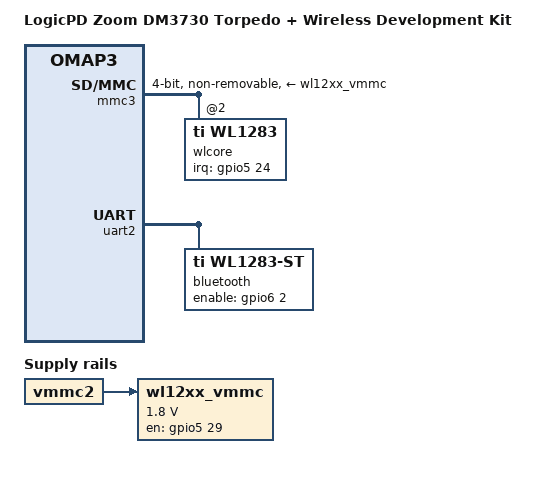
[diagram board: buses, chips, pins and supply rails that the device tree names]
// SPDX-License-Identifier: GPL-2.0-only

/dts-v1/;

#include "omap36xx.dtsi"
#include "logicpd-torpedo-som.dtsi"
#include "omap-gpmc-smsc9221.dtsi"
#include "logicpd-torpedo-baseboard.dtsi"

/ {
	model = "LogicPD Zoom DM3730 Torpedo + Wireless Development Kit";
	compatible = "logicpd,dm3730-torpedo-devkit", "ti,omap3630", "ti,omap3";

	wl12xx_vmmc: wl12xx_vmmc {
		compatible = "regulator-fixed";
		regulator-name = "vwl1271";
		regulator-min-microvolt = <1800000>;
		regulator-max-microvolt = <1800000>;
		gpio = <&gpio5 29 0>;   /* gpio157 */
		startup-delay-us = <70000>;
		enable-active-high;
		vin-supply = <&vmmc2>;
	};
};

/*
 * Only found on the wireless SOM. For the SOM without wireless, the pins for
 * MMC3 can be routed with jumpers to the second MMC slot on the devkit and
 * gpio157 is not connected. So this should be OK to keep common for now,
 * probably device tree overlays is the way to go with the various SOM and
 * jumpering combinations for the long run.
 */
&mmc3 {
	interrupts-extended = <&intc 94 &omap3_pmx_core 0x136>;
	pinctrl-0 = <&mmc3_pins &mmc3_core2_pins>;
	pinctrl-names = "default";
	vmmc-supply = <&wl12xx_vmmc>;
	non-removable;
	bus-width = <4>;
	cap-power-off-card;
	#address-cells = <1>;
	#size-cells = <0>;
	wlcore: wlcore@2 {
		compatible = "ti,wl1283";
		reg = <2>;
		interrupt-parent = <&gpio5>;
		interrupts = <24 IRQ_TYPE_EDGE_RISING>; /* gpio 152 */
		ref-clock-frequency = <26000000>;
		tcxo-clock-frequency = <26000000>;
	};
};

&uart2 {
	/delete-property/dma-names;
	bluetooth {
		compatible = "ti,wl1283-st";
		enable-gpios = <&gpio6 2 GPIO_ACTIVE_HIGH>; /* gpio 162 */
		max-speed = <3000000>;
	};
};

/* The DM3730 has a faster L3 than OMAP35, so increase pixel clock */
&mt9p031_out {
	pixel-clock-frequency = <90000000>;
};

&omap3_pmx_core {
	mmc3_pins: pinmux_mm3_pins {
		pinctrl-single,pins = <
			OMAP3_CORE1_IOPAD(0x2164, PIN_INPUT_PULLUP | MUX_MODE3)	/* sdmmc2_dat4.sdmmc3_dat0 */
			OMAP3_CORE1_IOPAD(0x2166, PIN_INPUT_PULLUP | MUX_MODE3)	/* sdmmc2_dat5.sdmmc3_dat1 */
			OMAP3_CORE1_IOPAD(0x2168, PIN_INPUT_PULLUP | MUX_MODE3)	/* sdmmc2_dat6.sdmmc3_dat2 */
			OMAP3_CORE1_IOPAD(0x216a, PIN_INPUT_PULLUP | MUX_MODE3)	/* sdmmc2_dat6.sdmmc3_dat3 */
			OMAP3_CORE1_IOPAD(0x2184, PIN_INPUT_PULLUP | MUX_MODE4)	/* mcbsp4_clkx.gpio_152 */
			OMAP3_CORE1_IOPAD(0x218e, PIN_OUTPUT | MUX_MODE4)	/* mcbsp1_fsr.gpio_157 */
		>;
	};
};

&omap3_pmx_core2 {
	mmc3_core2_pins: pinmux_mmc3_core2_pins {
		pinctrl-single,pins = <
			OMAP3630_CORE2_IOPAD(0x25d8, PIN_INPUT_PULLUP | MUX_MODE2)   /* etk_clk.sdmmc3_clk */
			OMAP3630_CORE2_IOPAD(0x25da, PIN_INPUT_PULLUP | MUX_MODE2)   /* etk_ctl.sdmmc3_cmd */
		>;
	};
};
